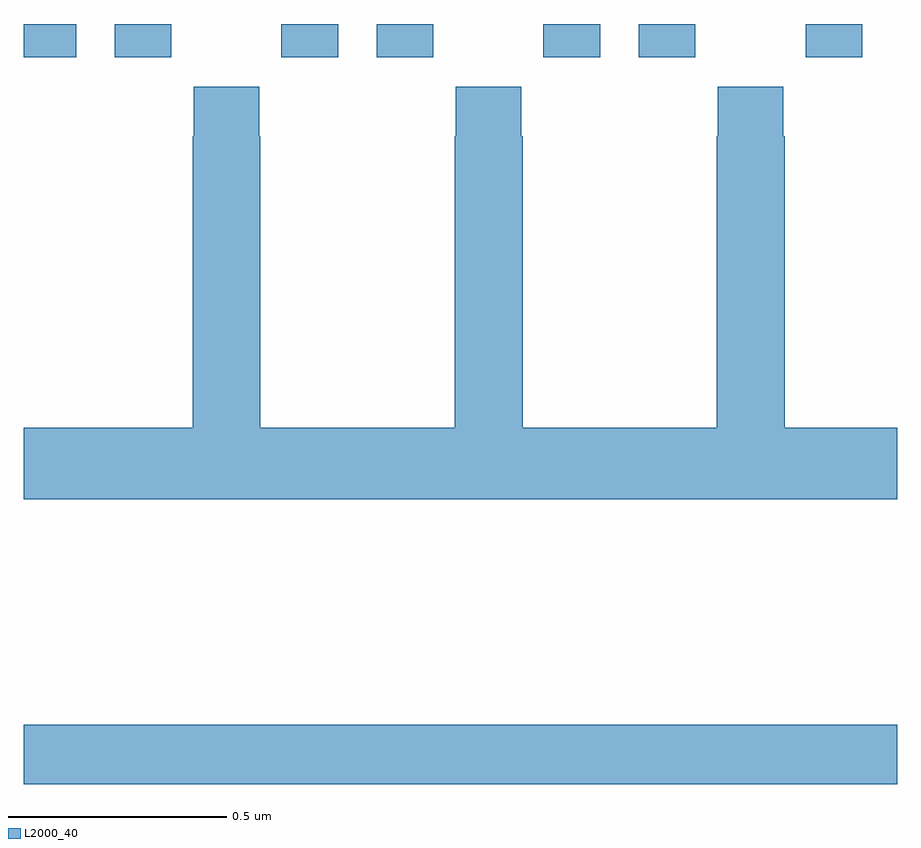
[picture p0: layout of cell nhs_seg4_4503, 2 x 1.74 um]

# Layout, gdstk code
import gdstk
lib = gdstk.Library(unit=1e-6, precision=1e-09)
def R(c, l, rs):  # rectangles x0, y0, x1, y1
    for r in rs: c.add(gdstk.rectangle(r[:2], r[2:], *l))
def P(c, l, *ps):  # polygons
    for p in ps: c.add(gdstk.Polygon(p, *l))
L2000_40 = (2000, 40)

nhs_seg4_4503 = lib.new_cell('nhs_seg4_4503')
R(nhs_seg4_4503, L2000_40, [(166,804.16,168,804.296), (166,805.824,166.12,805.9), (166.208,805.824,166.338,805.9), (166.59,805.824,166.72,805.9), (166.808,805.824,166.938,805.9), (167.19,805.824,167.32,805.9), (167.408,805.824,167.538,805.9), (167.79,805.824,167.92,805.9)])
P(nhs_seg4_4503, L2000_40, [(168,804.976),(167.742,804.976),(167.742,805.643),(167.739,805.643),(167.739,805.756),(167.589,805.756),(167.589,805.643),(167.587,805.643),(167.587,804.976),(167.142,804.976),(167.142,805.643),(167.139,805.643),(167.139,805.756),(166.989,805.756),(166.989,805.643),(166.987,805.643),(166.987,804.976),(166.542,804.976),(166.542,805.643),(166.539,805.643),(166.539,805.756),(166.389,805.756),(166.389,805.643),(166.387,805.643),(166.387,804.976),(166,804.976),(166,804.812),(168,804.812)])

lib.write_gds('nhs_seg4_4503.gds')
